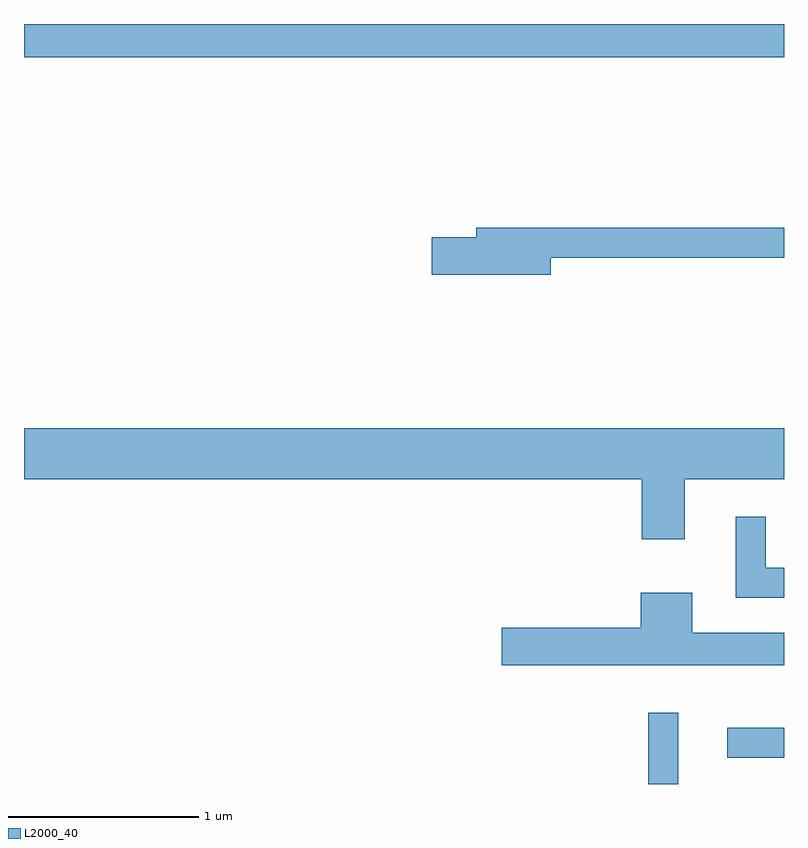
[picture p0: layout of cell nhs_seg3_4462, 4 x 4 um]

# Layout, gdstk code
import gdstk
lib = gdstk.Library(unit=1e-6, precision=1e-09)
def R(c, l, rs):  # rectangles x0, y0, x1, y1
    for r in rs: c.add(gdstk.rectangle(r[:2], r[2:], *l))
def P(c, l, *ps):  # polygons
    for p in ps: c.add(gdstk.Polygon(p, *l))
L2000_40 = (2000, 40)

nhs_seg3_4462 = lib.new_cell('nhs_seg3_4462')
R(nhs_seg3_4462, L2000_40, [(318.896,1199.892,319.054,1200.268), (319.313,1200.031,319.611,1200.189), (315.611,1203.716,319.611,1203.892)])
P(nhs_seg3_4462, L2000_40, [(318.384,1202.661),(319.611,1202.661),(319.611,1202.819),(317.991,1202.819),(317.991,1202.769),(317.756,1202.769),(317.756,1202.571),(318.384,1202.571)],
  [(319.089,1201.496),(319.611,1201.496),(319.611,1201.764),(315.611,1201.764),(315.611,1201.496),(318.861,1201.496),(318.861,1201.181),(319.089,1201.181)],
  [(319.611,1201.029),(319.514,1201.029),(319.514,1201.298),(319.356,1201.298),(319.356,1200.871),(319.611,1200.871)],
  [(319.611,1200.689),(319.129,1200.689),(319.129,1200.899),(318.856,1200.899),(318.856,1200.714),(318.126,1200.714),(318.126,1200.516),(319.611,1200.516)])

lib.write_gds('nhs_seg3_4462.gds')
